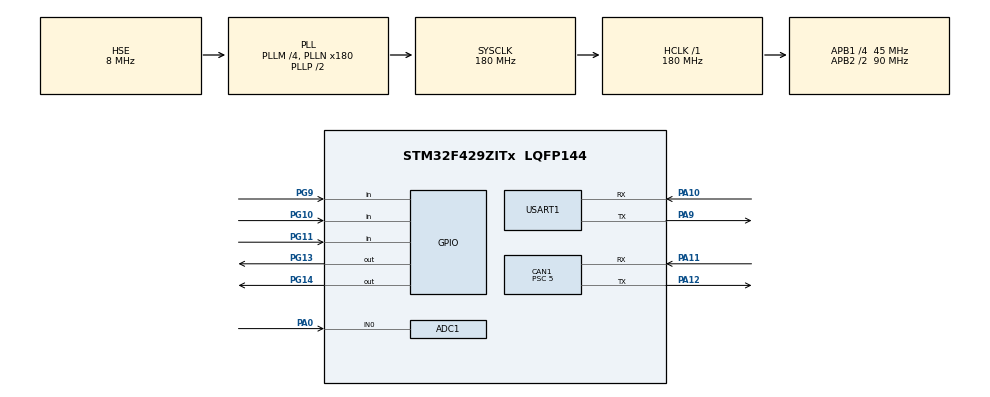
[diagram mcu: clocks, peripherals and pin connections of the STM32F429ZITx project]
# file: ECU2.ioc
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ADC1.Channel-0\#ChannelRegularConversion=ADC_CHANNEL_0
ADC1.NbrOfConversionFlag=1
ADC1.Rank-0\#ChannelRegularConversion=1
ADC1.SamplingTime-0\#ChannelRegularConversion=ADC_SAMPLETIME_3CYCLES
ADC1.master=1
CAN1.BS1=CAN_BS1_9TQ
CAN1.BS2=CAN_BS2_8TQ
CAN1.CalculateBaudRate=500000
CAN1.CalculateTimeBit=2000
CAN1.CalculateTimeQuantum=111.11111111111111
CAN1.NART=ENABLE
CAN1.Prescaler=5
Mcu.Family=STM32F4
Mcu.Name=STM32F429ZITx
Mcu.Package=LQFP144
NVIC.ADC_IRQn=true\:0\:0\:false\:false\:true\:true\:true\:true
NVIC.PriorityGroup=NVIC_PRIORITYGROUP_4
NVIC.TIM4_IRQn=true\:0\:0\:false\:false\:true\:true\:true\:true
PA0/WKUP.Signal=ADCx_IN0
PA10.Mode=Asynchronous
PA10.Signal=USART1_RX
PA11.Mode=CAN_Activate
PA11.Signal=CAN1_RX
PA12.Mode=CAN_Activate
PA12.Signal=CAN1_TX
PA9.Mode=Asynchronous
PA9.Signal=USART1_TX
PG10.Signal=GPIO_Input
PG11.Signal=GPIO_Input
PG13.Signal=GPIO_Output
PG14.Signal=GPIO_Output
PG9.Signal=GPIO_Input
PH0/OSC_IN.Mode=HSE-External-Oscillator
PH0/OSC_IN.Signal=RCC_OSC_IN
PH1/OSC_OUT.Mode=HSE-External-Oscillator
PH1/OSC_OUT.Signal=RCC_OSC_OUT
ProjectManager.HeapSize=0x200
ProjectManager.StackSize=0x400
ProjectManager.TargetToolchain=STM32CubeIDE
RCC.48MHZClocksFreq_Value=90000000
RCC.AHBFreq_Value=180000000
RCC.APB1CLKDivider=RCC_HCLK_DIV4
RCC.APB1Freq_Value=45000000
RCC.APB1TimFreq_Value=90000000
RCC.APB2CLKDivider=RCC_HCLK_DIV2
RCC.APB2Freq_Value=90000000
RCC.APB2TimFreq_Value=180000000
RCC.CortexFreq_Value=180000000
RCC.HCLKFreq_Value=180000000
RCC.HSE_VALUE=8000000
RCC.HSI_VALUE=16000000
RCC.LSE_VALUE=32768
RCC.PLLM=4
RCC.PLLN=180
RCC.PLLSourceVirtual=RCC_PLLSOURCE_HSE
RCC.SYSCLKFreq_VALUE=180000000
RCC.SYSCLKSource=RCC_SYSCLKSOURCE_PLLCLK
RCC.VCOOutputFreq_Value=360000000
RTC.Hours=11
RTC.Minutes=45
RTC.Month=RTC_MONTH_MARCH
RTC.Seconds=30
RTC.WeekDay=RTC_WEEKDAY_THURSDAY
RTC.Year=26
SH.ADCx_IN0.0=ADC1_IN0,IN0
TIM4.Period=9000-1
TIM4.Prescaler=10000-1
USART1.VirtualMode=VM_ASYNC
VP_RTC_VS_RTC_Activate.Mode=RTC_Enabled
VP_RTC_VS_RTC_Calendar.Mode=RTC_Calendar
VP_TIM4_VS_ClockSourceINT.Mode=Internal
board=custom

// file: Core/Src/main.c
/* USER CODE BEGIN Header */
/**
 ******************************************************************************
 * @file           : main.c
 * @brief          : Main program body
 ******************************************************************************
 * @attention
 *
 * Copyright (c) 2026 STMicroelectronics.
 * All rights reserved.
 *
 * This software is licensed under terms that can be found in the LICENSE file
 * in the root directory of this software component.
 * If no LICENSE file comes with this software, it is provided AS-IS.
 *
 ******************************************************************************
 */
/* USER CODE END Header */
#include "main.h"

/* USER CODE BEGIN Includes */
#include <string.h>
#include<stdio.h>
/* USER CODE END Includes */

/* USER CODE BEGIN PD */
#define rpm_id  0x400
#define gear_id 0x500
#define date_id 0x600
/* USER CODE END PD */

ADC_HandleTypeDef hadc1;

CAN_HandleTypeDef hcan1;

RTC_HandleTypeDef hrtc;

TIM_HandleTypeDef htim4;

UART_HandleTypeDef huart1;

/* USER CODE BEGIN PV */
uint8_t ADC_Value;
char buf[30];
uint8_t tim_flag;
/* USER CODE END PV */

void SystemClock_Config(void);
static void MX_GPIO_Init(void);
static void MX_ADC1_Init(void);
static void MX_RTC_Init(void);
static void MX_USART1_UART_Init(void);
static void MX_CAN1_Init(void);
static void MX_TIM4_Init(void);

/* USER CODE BEGIN 0 */
CAN_TxHeaderTypeDef TxHeader;
uint32_t TxMailbox;
uint8_t Tx_Data[8];
//uint8_t ind_can[2];

void can_transmitter(uint16_t id, uint8_t *data, uint8_t size) {
	TxHeader.StdId = id;
	TxHeader.IDE = CAN_ID_STD;
	TxHeader.RTR = CAN_RTR_DATA;
	TxHeader.DLC = size;

	for (int i = 0; i < size; i++) {
		Tx_Data[i] = data[i];
	}
	HAL_Delay(50);

	if (HAL_CAN_AddTxMessage(&hcan1, &TxHeader, data, &TxMailbox) == HAL_OK)
		HAL_GPIO_WritePin(GPIOG, GPIO_PIN_14, 0);
	else
		HAL_GPIO_WritePin(GPIOG, GPIO_PIN_14, 1);
}

#define STATE 1
uint8_t sw1, sw2, sw3;
unsigned char gear_check(unsigned char detection_check) {
	static uint8_t sw1 = 1, sw2 = 1, sw3 = 1, once1 = 1, once2 = 1, once3 = 1;
	sw1 = HAL_GPIO_ReadPin(GPIOG, GPIO_PIN_9);
	sw2 = HAL_GPIO_ReadPin(GPIOG, GPIO_PIN_10);
	sw3 = HAL_GPIO_ReadPin(GPIOG, GPIO_PIN_11);
	if (detection_check == STATE) {
		if (sw1 == 0 && once1) {
			once1 = 0;
			return 1;
		} else if (sw1 == 1) {
			once1 = 1;
		}
		if (sw2 == 0 && once2) {
			once2 = 0;
			return 2;
		} else if (sw2 == 1) {
			once2 = 1;
		}
		if (sw3 == 0 && once3) {
			once3 = 0;
			return 3;
		} else if (sw3 == 1) {
			once3 = 1;
		}
	}
	return 0;
}
/* USER CODE END 0 */

int main(void)
{

  /* MCU Configuration--------------------------------------------------------*/

  /* Reset of all peripherals, Initializes the Flash interface and the Systick. */
  HAL_Init();

  /* Configure the system clock */
  SystemClock_Config();

  /* Initialize all configured peripherals */
  MX_GPIO_Init();
  MX_ADC1_Init();
  MX_RTC_Init();
  MX_USART1_UART_Init();
  MX_CAN1_Init();
  MX_TIM4_Init();

  /* Infinite loop */
  /* USER CODE BEGIN WHILE */
	char *gear[] = { "ON", "GN", "G1", "G2", "G3", "G4", "GR", "C" };
	uint8_t gear_pos = 0;
	uint8_t key;
	if (HAL_CAN_Start(&hcan1) != HAL_OK) {
		HAL_GPIO_WritePin(GPIOG, GPIO_PIN_14, 1);
	}

	HAL_ADC_Start_IT(&hadc1);
	HAL_TIM_Base_Start_IT(&htim4);

	RTC_TimeTypeDef Time;
	RTC_DateTypeDef Date;
	uint8_t buf[100];
	HAL_RTC_SetTime(&hrtc, &Time, RTC_FORMAT_BIN);

	while (1) {
		key = gear_check(STATE);
		if (key == 1) {
			if (gear_pos == 6 || gear_pos == 7)
				gear_pos = 1;
			else {
				if (gear_pos < 6)
					gear_pos++;
			}
		} else if (key == 2) {
			if (gear_pos == 1 || gear_pos == 7)
				gear_pos = 1;
			else {
				if (gear_pos > 1)
					gear_pos--;
			}
		} else if (key == 3) {
			gear_pos = 7;
		}

		sprintf(buf, "%s", "ON");
//		HAL_UART_Transmit(&huart1, buf, strlen(buf), HAL_MAX_DELAY);

//		sprintf(buf, "%lu\r\n", ADC_Value);
//		HAL_UART_Transmit(&huart1, buf, strlen(buf), HAL_MAX_DELAY);
		//HAL_Delay(50);

		HAL_RTC_GetTime(&hrtc, &Time, RTC_FORMAT_BIN);
		HAL_RTC_GetDate(&hrtc, &Date, RTC_FORMAT_BIN);

		sprintf(buf, "%02d:%02d:%02d", Time.Hours, Time.Minutes, Time.Seconds);

//		HAL_UART_Transmit(&huart1, buf, strlen(buf), HAL_MAX_DELAY);

		if (tim_flag) {
			tim_flag = 0;
			HAL_GPIO_TogglePin(GPIOG, GPIO_PIN_13);
			can_transmitter(gear_id, gear[gear_pos], 2);
			can_transmitter(rpm_id, &ADC_Value, 1);
			can_transmitter(date_id,buf, 8);
		}
    /* USER CODE END WHILE */

	}
}

void SystemClock_Config(void)
{
  RCC_OscInitTypeDef RCC_OscInitStruct = {0};
  RCC_ClkInitTypeDef RCC_ClkInitStruct = {0};

  /** Configure the main internal regulator output voltage
  */
  __HAL_RCC_PWR_CLK_ENABLE();
  __HAL_PWR_VOLTAGESCALING_CONFIG(PWR_REGULATOR_VOLTAGE_SCALE1);

  /** Initializes the RCC Oscillators according to the specified parameters
  * in the RCC_OscInitTypeDef structure.
  */
  RCC_OscInitStruct.OscillatorType = RCC_OSCILLATORTYPE_LSI|RCC_OSCILLATORTYPE_HSE;
  RCC_OscInitStruct.HSEState = RCC_HSE_ON;
  RCC_OscInitStruct.LSIState = RCC_LSI_ON;
  RCC_OscInitStruct.PLL.PLLState = RCC_PLL_ON;
  RCC_OscInitStruct.PLL.PLLSource = RCC_PLLSOURCE_HSE;
  RCC_OscInitStruct.PLL.PLLM = 4;
  RCC_OscInitStruct.PLL.PLLN = 180;
  RCC_OscInitStruct.PLL.PLLP = RCC_PLLP_DIV2;
  RCC_OscInitStruct.PLL.PLLQ = 4;
  if (HAL_RCC_OscConfig(&RCC_OscInitStruct) != HAL_OK)
  {
    Error_Handler();
  }

  /** Activate the Over-Drive mode
  */
  if (HAL_PWREx_EnableOverDrive() != HAL_OK)
  {
    Error_Handler();
  }

  /** Initializes the CPU, AHB and APB buses clocks
  */
  RCC_ClkInitStruct.ClockType = RCC_CLOCKTYPE_HCLK|RCC_CLOCKTYPE_SYSCLK
                              |RCC_CLOCKTYPE_PCLK1|RCC_CLOCKTYPE_PCLK2;
  RCC_ClkInitStruct.SYSCLKSource = RCC_SYSCLKSOURCE_PLLCLK;
  RCC_ClkInitStruct.AHBCLKDivider = RCC_SYSCLK_DIV1;
  RCC_ClkInitStruct.APB1CLKDivider = RCC_HCLK_DIV4;
  RCC_ClkInitStruct.APB2CLKDivider = RCC_HCLK_DIV2;

  if (HAL_RCC_ClockConfig(&RCC_ClkInitStruct, FLASH_LATENCY_5) != HAL_OK)
  {
    Error_Handler();
  }
}

static void MX_ADC1_Init(void)
{

  ADC_ChannelConfTypeDef sConfig = {0};

  /** Configure the global features of the ADC (Clock, Resolution, Data Alignment and number of conversion)
  */
  hadc1.Instance = ADC1;
  hadc1.Init.ClockPrescaler = ADC_CLOCK_SYNC_PCLK_DIV4;
  hadc1.Init.Resolution = ADC_RESOLUTION_12B;
  hadc1.Init.ScanConvMode = DISABLE;
  hadc1.Init.ContinuousConvMode = ENABLE;
  hadc1.Init.DiscontinuousConvMode = DISABLE;
  hadc1.Init.ExternalTrigConvEdge = ADC_EXTERNALTRIGCONVEDGE_NONE;
  hadc1.Init.ExternalTrigConv = ADC_SOFTWARE_START;
  hadc1.Init.DataAlign = ADC_DATAALIGN_RIGHT;
  hadc1.Init.NbrOfConversion = 1;
  hadc1.Init.DMAContinuousRequests = DISABLE;
  hadc1.Init.EOCSelection = ADC_EOC_SINGLE_CONV;
  if (HAL_ADC_Init(&hadc1) != HAL_OK)
  {
    Error_Handler();
  }

  /** Configure for the selected ADC regular channel its corresponding rank in the sequencer and its sample time.
  */
  sConfig.Channel = ADC_CHANNEL_0;
  sConfig.Rank = 1;
  sConfig.SamplingTime = ADC_SAMPLETIME_3CYCLES;
  if (HAL_ADC_ConfigChannel(&hadc1, &sConfig) != HAL_OK)
  {
    Error_Handler();
  }

}

static void MX_CAN1_Init(void)
{

  hcan1.Instance = CAN1;
  hcan1.Init.Prescaler = 5;
  hcan1.Init.Mode = CAN_MODE_NORMAL;
  hcan1.Init.SyncJumpWidth = CAN_SJW_1TQ;
  hcan1.Init.TimeSeg1 = CAN_BS1_9TQ;
  hcan1.Init.TimeSeg2 = CAN_BS2_8TQ;
  hcan1.Init.TimeTriggeredMode = DISABLE;
  hcan1.Init.AutoBusOff = DISABLE;
  hcan1.Init.AutoWakeUp = DISABLE;
  hcan1.Init.AutoRetransmission = ENABLE;
  hcan1.Init.ReceiveFifoLocked = DISABLE;
  hcan1.Init.TransmitFifoPriority = DISABLE;
  if (HAL_CAN_Init(&hcan1) != HAL_OK)
  {
    Error_Handler();
  }
  /* USER CODE BEGIN CAN1_Init 2 */
	CAN_FilterTypeDef sFilterConfig;

	sFilterConfig.FilterActivation = ENABLE;
	sFilterConfig.FilterBank = 0;
	sFilterConfig.FilterFIFOAssignment = CAN_FILTER_FIFO0;

	// For a 32-bit filter to accept StdId 0x103:
	// The StdId occupies bits [31:21] of the 32-bit register.
	sFilterConfig.FilterIdHigh = 0x0000;
	sFilterConfig.FilterIdLow = 0x0000;

	// To accept ONLY 0x103, set mask to all 1s in those positions (0x7FF << 5)
	// To accept EVERYTHING for testing, set mask to 0
	sFilterConfig.FilterMaskIdHigh = 0x0000;
	sFilterConfig.FilterMaskIdLow = 0x0000;

	sFilterConfig.FilterMode = CAN_FILTERMODE_IDMASK;
	sFilterConfig.FilterScale = CAN_FILTERSCALE_32BIT;
	sFilterConfig.SlaveStartFilterBank = 14;

	if (HAL_CAN_ConfigFilter(&hcan1, &sFilterConfig) != HAL_OK) {
		Error_Handler();
	}
  /* USER CODE END CAN1_Init 2 */

}

static void MX_RTC_Init(void)
{

  RTC_TimeTypeDef sTime = {0};
  RTC_DateTypeDef sDate = {0};

  /** Initialize RTC Only
  */
  hrtc.Instance = RTC;
  hrtc.Init.HourFormat = RTC_HOURFORMAT_24;
  hrtc.Init.AsynchPrediv = 127;
  hrtc.Init.SynchPrediv = 255;
  hrtc.Init.OutPut = RTC_OUTPUT_DISABLE;
  hrtc.Init.OutPutPolarity = RTC_OUTPUT_POLARITY_HIGH;
  hrtc.Init.OutPutType = RTC_OUTPUT_TYPE_OPENDRAIN;
  if (HAL_RTC_Init(&hrtc) != HAL_OK)
  {
    Error_Handler();
  }

  /** Initialize RTC and set the Time and Date
  */
  sTime.Hours = 0x11;
  sTime.Minutes = 0x0;
  sTime.Seconds = 0x0;
  sTime.DayLightSaving = RTC_DAYLIGHTSAVING_NONE;
  sTime.StoreOperation = RTC_STOREOPERATION_RESET;
  if (HAL_RTC_SetTime(&hrtc, &sTime, RTC_FORMAT_BCD) != HAL_OK)
  {
    Error_Handler();
  }
  sDate.WeekDay = RTC_WEEKDAY_MONDAY;
  sDate.Month = RTC_MONTH_JANUARY;
  sDate.Date = 0x1;
  sDate.Year = 0x0;

  if (HAL_RTC_SetDate(&hrtc, &sDate, RTC_FORMAT_BCD) != HAL_OK)
  {
    Error_Handler();
  }

}

static void MX_TIM4_Init(void)
{

  TIM_ClockConfigTypeDef sClockSourceConfig = {0};
  TIM_MasterConfigTypeDef sMasterConfig = {0};

  htim4.Instance = TIM4;
  htim4.Init.Prescaler = 10000-1;
  htim4.Init.CounterMode = TIM_COUNTERMODE_UP;
  htim4.Init.Period = 9000-1;
  htim4.Init.ClockDivision = TIM_CLOCKDIVISION_DIV1;
  htim4.Init.AutoReloadPreload = TIM_AUTORELOAD_PRELOAD_DISABLE;
  if (HAL_TIM_Base_Init(&htim4) != HAL_OK)
  {
    Error_Handler();
  }
  sClockSourceConfig.ClockSource = TIM_CLOCKSOURCE_INTERNAL;
  if (HAL_TIM_ConfigClockSource(&htim4, &sClockSourceConfig) != HAL_OK)
  {
    Error_Handler();
  }
  sMasterConfig.MasterOutputTrigger = TIM_TRGO_RESET;
  sMasterConfig.MasterSlaveMode = TIM_MASTERSLAVEMODE_DISABLE;
  if (HAL_TIMEx_MasterConfigSynchronization(&htim4, &sMasterConfig) != HAL_OK)
  {
    Error_Handler();
  }

}

static void MX_USART1_UART_Init(void)
{

  huart1.Instance = USART1;
  huart1.Init.BaudRate = 115200;
  huart1.Init.WordLength = UART_WORDLENGTH_8B;
  huart1.Init.StopBits = UART_STOPBITS_1;
  huart1.Init.Parity = UART_PARITY_NONE;
  huart1.Init.Mode = UART_MODE_TX_RX;
  huart1.Init.HwFlowCtl = UART_HWCONTROL_NONE;
  huart1.Init.OverSampling = UART_OVERSAMPLING_16;
  if (HAL_UART_Init(&huart1) != HAL_OK)
  {
    Error_Handler();
  }

}

static void MX_GPIO_Init(void)
{
  GPIO_InitTypeDef GPIO_InitStruct = {0};

  /* GPIO Ports Clock Enable */
  __HAL_RCC_GPIOH_CLK_ENABLE();
  __HAL_RCC_GPIOA_CLK_ENABLE();
  __HAL_RCC_GPIOG_CLK_ENABLE();

  /*Configure GPIO pin Output Level */
  HAL_GPIO_WritePin(GPIOG, GPIO_PIN_13|GPIO_PIN_14, GPIO_PIN_RESET);

  /*Configure GPIO pins : PG9 PG10 PG11 */
  GPIO_InitStruct.Pin = GPIO_PIN_9|GPIO_PIN_10|GPIO_PIN_11;
  GPIO_InitStruct.Mode = GPIO_MODE_INPUT;
  GPIO_InitStruct.Pull = GPIO_NOPULL;
  HAL_GPIO_Init(GPIOG, &GPIO_InitStruct);

  /*Configure GPIO pins : PG13 PG14 */
  GPIO_InitStruct.Pin = GPIO_PIN_13|GPIO_PIN_14;
  GPIO_InitStruct.Mode = GPIO_MODE_OUTPUT_PP;
  GPIO_InitStruct.Pull = GPIO_NOPULL;
  GPIO_InitStruct.Speed = GPIO_SPEED_FREQ_LOW;
  HAL_GPIO_Init(GPIOG, &GPIO_InitStruct);

}

void Error_Handler(void)
{
	__disable_irq();
	while (1) {
	}
}
